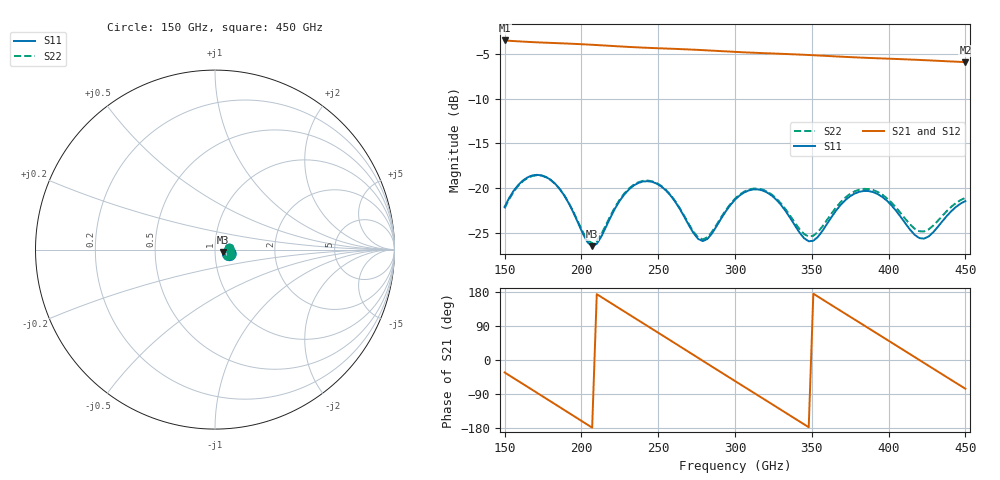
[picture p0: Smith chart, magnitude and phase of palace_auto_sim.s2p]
#  GHZ S DB R 50
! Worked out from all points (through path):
!   101 points, 150 GHz to 450 GHz, reference 50 ohm
!   highest |S21| = -3.47 dB at 150 GHz (marker M1); lowest = -5.9 dB at 450 GHz (marker M2)
!   group delay of S21, straight-line fit = 7.07 ps
!   lowest |S11| = -26.5 dB at 207 GHz (marker M3), VSWR 1.10, Z = 54.7 - j1.62 ohm
!   |S11| at or under -10 dB: start of sweep to end of sweep
!   |S22| runs from -26.2 to -18.6 dB; largest |S21 - S12| = 1e-13
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150  -22.10 8.2  -3.47 -32.8  -3.47 -32.8  -22.26 8.7
162  -19.13 -3.1  -3.60 -63.4  -3.60 -63.4  -19.21 -2.7
174  -18.57 -20.8  -3.70 -94.0  -3.70 -94.0  -18.60 -20.4
186  -20.12 -36.9  -3.78 -124.7  -3.78 -124.7  -20.12 -36.3
201  -25.12 -36.0  -3.89 -163.2  -3.89 -163.2  -24.93 -35.0
207  -26.50 -18.3  -3.95 -178.5  -3.95 -178.5  -26.18 -18.1
219  -23.25 7.1  -4.07 150.7  -4.07 150.7  -23.06 5.8
231  -20.14 -0.1  -4.19 120.2  -4.19 120.2  -20.04 -1.3
252  -19.81 -27.7  -4.35 66.9  -4.35 66.9  -19.75 -28.6
276  -25.69 -24.5  -4.52 5.6  -4.52 5.6  -25.52 -25.3
288  -24.26 1.0  -4.63 -25.0  -4.63 -25.0  -24.09 -0.4
300  -21.29 -0.3  -4.74 -55.5  -4.74 -55.5  -21.19 -1.7
312  -20.14 -13.3  -4.84 -85.9  -4.84 -85.9  -20.05 -14.4
324  -20.85 -27.2  -4.92 -116.4  -4.92 -116.4  -20.73 -27.9
339  -24.17 -32.1  -5.02 -154.5  -5.02 -154.5  -23.87 -32.1
351  -25.89 -10.0  -5.12 174.9  -5.12 174.9  -25.33 -11.6
363  -23.19 4.1  -5.23 144.4  -5.23 144.4  -22.80 1.0
378  -20.60 -6.0  -5.36 106.5  -5.36 106.5  -20.35 -8.9
402  -21.95 -30.6  -5.52 45.8  -5.52 45.8  -21.64 -32.3
414  -24.65 -28.7  -5.60 15.3  -5.60 15.3  -24.07 -30.3
426  -25.42 -8.5  -5.69 -15.2  -5.69 -15.2  -24.62 -12.9
450  -21.45 -7.3  -5.89 -75.9  -5.89 -75.9  -21.09 -13.7
